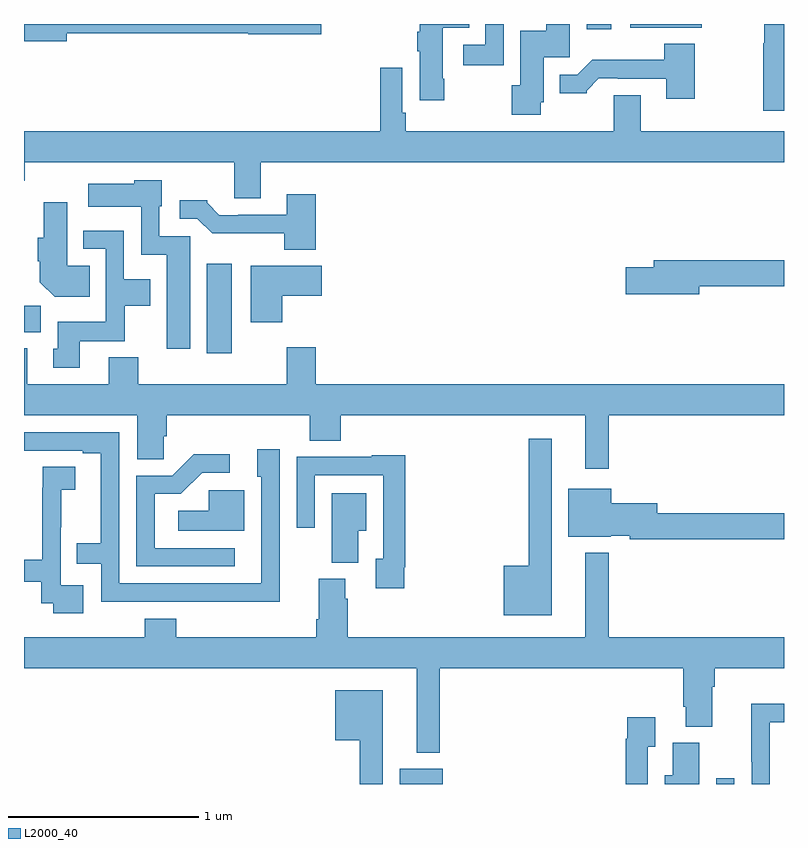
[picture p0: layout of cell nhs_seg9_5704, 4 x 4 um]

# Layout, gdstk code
import gdstk
lib = gdstk.Library(unit=1e-6, precision=1e-09)
def R(c, l, rs):  # rectangles x0, y0, x1, y1
    for r in rs: c.add(gdstk.rectangle(r[:2], r[2:], *l))
def P(c, l, *ps):  # polygons
    for p in ps: c.add(gdstk.Polygon(p, *l))
L2000_40 = (2000, 40)

nhs_seg9_5704 = lib.new_cell('nhs_seg9_5704')
R(nhs_seg9_5704, L2000_40, [(444.977,1174.5,445.204,1174.579), (446.643,1174.5,446.739,1174.531), (443.963,1176.768,444.094,1177.237), (443,1176.878,443.089,1177.016), (445.961,1178.472,446.092,1178.5), (446.192,1178.48,446.566,1178.5)])
P(nhs_seg9_5704, L2000_40, [(445.212,1178.212),(445.204,1178.212),(445.204,1178.48),(445.343,1178.48),(445.343,1178.5),(445.082,1178.5),(445.082,1178.459),(445.07,1178.459),(445.07,1178.356),(445.082,1178.356),(445.082,1178.1),(445.212,1178.1)],
  [(443.224,1178.452),(444.18,1178.452),(444.18,1178.447),(444.564,1178.447),(444.564,1178.5),(443,1178.5),(443,1178.41),(443.224,1178.41)],
  [(445.524,1178.5),(445.428,1178.5),(445.428,1178.391),(445.311,1178.391),(445.311,1178.283),(445.524,1178.283)],
  [(445.719,1178.088),(445.735,1178.088),(445.735,1178.325),(445.873,1178.325),(445.873,1178.5),(445.748,1178.5),(445.748,1178.464),(445.613,1178.464),(445.613,1178.178),(445.567,1178.178),(445.567,1178.022),(445.719,1178.022)],
  [(447,1178.5),(446.897,1178.5),(446.897,1178.398),(446.89,1178.398),(446.89,1178.043),(447,1178.043)],
  [(446.529,1178.395),(446.369,1178.395),(446.369,1178.311),(445.99,1178.311),(445.911,1178.232),(445.82,1178.232),(445.82,1178.135),(445.962,1178.135),(445.962,1178.15),(446.026,1178.214),(446.125,1178.214),(446.125,1178.211),(446.381,1178.211),(446.381,1178.106),(446.529,1178.106)],
  [(444.247,1177.772),(447,1177.772),(447,1177.936),(446.245,1177.936),(446.245,1178.126),(446.105,1178.126),(446.105,1177.936),(445.01,1177.936),(445.01,1178.032),(444.99,1178.032),(444.99,1178.269),(444.874,1178.269),(444.874,1177.936),(443,1177.936),(443,1177.676),(443.005,1177.676),(443.005,1177.772),(444.107,1177.772),(444.107,1177.582),(444.247,1177.582)],
  [(443.875,1177.383),(443.712,1177.383),(443.712,1177.542),(443.725,1177.542),(443.725,1177.678),(443.58,1177.678),(443.58,1177.66),(443.337,1177.66),(443.337,1177.538),(443.616,1177.538),(443.616,1177.286),(443.75,1177.286),(443.75,1176.792),(443.875,1176.792)],
  [(444.536,1177.603),(444.383,1177.603),(444.383,1177.497),(444.127,1177.497),(444.127,1177.494),(444.028,1177.494),(443.964,1177.558),(443.964,1177.573),(443.82,1177.573),(443.82,1177.476),(443.913,1177.476),(443.992,1177.398),(444.371,1177.398),(444.371,1177.313),(444.536,1177.313)],
  [(443.345,1177.228),(443.227,1177.228),(443.227,1177.561),(443.105,1177.561),(443.105,1177.374),(443.072,1177.374),(443.072,1177.252),(443.084,1177.252),(443.084,1177.142),(443.162,1177.064),(443.345,1177.064)],
  [(443.293,1176.83),(443.529,1176.83),(443.529,1177.016),(443.665,1177.016),(443.665,1177.156),(443.526,1177.156),(443.526,1177.413),(443.313,1177.413),(443.313,1177.317),(443.43,1177.317),(443.43,1176.934),(443.177,1176.934),(443.177,1176.792),(443.153,1176.792),(443.153,1176.69),(443.293,1176.69)],
  [(446.554,1177.12),(447,1177.12),(447,1177.256),(446.315,1177.256),(446.315,1177.22),(446.166,1177.22),(446.166,1177.078),(446.554,1177.078)],
  [(444.358,1177.07),(444.568,1177.07),(444.568,1177.228),(444.194,1177.228),(444.194,1176.93),(444.358,1176.93)],
  [(443.6,1176.745),(443.447,1176.745),(443.447,1176.604),(443.017,1176.604),(443.017,1176.793),(443,1176.793),(443,1176.44),(443.597,1176.44),(443.597,1176.208),(443.736,1176.208),(443.736,1176.331),(443.75,1176.331),(443.75,1176.44),(444.503,1176.44),(444.503,1176.307),(444.668,1176.307),(444.668,1176.44),(445.955,1176.44),(445.955,1176.159),(446.077,1176.159),(446.077,1176.44),(447,1176.44),(447,1176.604),(444.536,1176.604),(444.536,1176.799),(444.383,1176.799),(444.383,1176.604),(443.6,1176.604)],
  [(444.347,1175.762),(444.345,1175.762),(444.345,1176.262),(444.227,1176.262),(444.227,1176.117),(444.249,1176.117),(444.249,1175.556),(443.502,1175.556),(443.502,1176.351),(443,1176.351),(443,1176.255),(443.309,1176.255),(443.309,1176.24),(443.405,1176.24),(443.405,1175.767),(443.278,1175.767),(443.278,1175.658),(443.406,1175.658),(443.406,1175.46),(443.884,1175.46),(443.884,1175.459),(444.347,1175.459)],
  [(445.777,1176.316),(445.656,1176.316),(445.656,1175.65),(445.526,1175.65),(445.526,1175.387),(445.777,1175.387)],
  [(444.109,1175.742),(443.688,1175.742),(443.688,1176.027),(443.826,1176.027),(443.937,1176.138),(444.082,1176.138),(444.082,1176.236),(443.894,1176.236),(443.781,1176.123),(443.592,1176.123),(443.592,1175.646),(444.109,1175.646)],
  [(445,1175.641),(445.007,1175.641),(445.007,1176.229),(444.831,1176.229),(444.831,1176.222),(444.435,1176.222),(444.435,1175.85),(444.531,1175.85),(444.531,1176.126),(444.891,1176.126),(444.891,1175.685),(444.851,1175.685),(444.851,1175.529),(445,1175.529)],
  [(443.311,1175.547),(443.193,1175.547),(443.193,1175.851),(443.195,1175.851),(443.195,1176.049),(443.269,1176.049),(443.269,1176.17),(443.098,1176.17),(443.098,1176.059),(443.096,1176.059),(443.096,1175.681),(443,1175.681),(443,1175.565),(443.092,1175.565),(443.092,1175.451),(443.155,1175.451),(443.155,1175.4),(443.311,1175.4)],
  [(447,1175.924),(446.332,1175.924),(446.332,1175.977),(446.092,1175.977),(446.092,1176.055),(445.865,1176.055),(445.865,1175.801),(446.088,1175.801),(446.088,1175.807),(446.188,1175.807),(446.188,1175.788),(447,1175.788)],
  [(444.16,1176.045),(443.973,1176.045),(443.973,1175.938),(443.811,1175.938),(443.811,1175.834),(444.16,1175.834)],
  [(444.76,1175.834),(444.802,1175.834),(444.802,1176.031),(444.62,1176.031),(444.62,1175.665),(444.76,1175.665)],
  [(445.189,1175.108),(446.471,1175.108),(446.471,1174.906),(446.483,1174.906),(446.483,1174.801),(446.623,1174.801),(446.623,1175.012),(446.636,1175.012),(446.636,1175.108),(447,1175.108),(447,1175.272),(446.077,1175.272),(446.077,1175.716),(445.955,1175.716),(445.955,1175.272),(444.704,1175.272),(444.704,1175.474),(444.691,1175.474),(444.691,1175.58),(444.551,1175.58),(444.551,1175.368),(444.539,1175.368),(444.539,1175.272),(443.801,1175.272),(443.801,1175.371),(443.636,1175.371),(443.636,1175.272),(443,1175.272),(443,1175.108),(445.067,1175.108),(445.067,1174.664),(445.189,1174.664)],
  [(444.889,1174.993),(444.638,1174.993),(444.638,1174.73),(444.768,1174.73),(444.768,1174.5),(444.889,1174.5)],
  [(446.925,1174.824),(447,1174.824),(447,1174.922),(446.828,1174.922),(446.828,1174.618),(446.829,1174.618),(446.829,1174.5),(446.925,1174.5)],
  [(446.283,1174.696),(446.323,1174.696),(446.323,1174.852),(446.175,1174.852),(446.175,1174.739),(446.167,1174.739),(446.167,1174.5),(446.283,1174.5)],
  [(446.554,1174.716),(446.414,1174.716),(446.414,1174.546),(446.372,1174.546),(446.372,1174.5),(446.554,1174.5)])

lib.write_gds('nhs_seg9_5704.gds')
